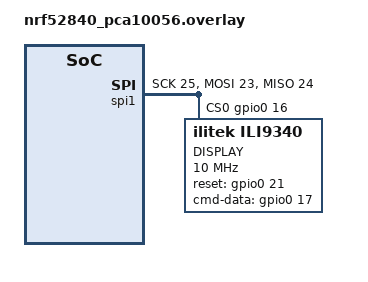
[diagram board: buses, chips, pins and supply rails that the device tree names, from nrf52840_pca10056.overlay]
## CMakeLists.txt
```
cmake_minimum_required(VERSION 3.8.2)

include($ENV{ZEPHYR_BASE}/cmake/app/boilerplate.cmake NO_POLICY_SCOPE)
project(lvgl_keypad)

FILE(GLOB app_sources src/*.c)
target_sources(app PRIVATE ${app_sources})
```

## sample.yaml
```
sample:
  description: LVGL keypad sample application
  name: lvgl_keypad
tests:
  test:
    build_only: true
    platform_whitelist: nrf52840_pca10056, native_posix
    tags: samples display
```

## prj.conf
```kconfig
CONFIG_HEAP_MEM_POOL_SIZE=16384

CONFIG_DISPLAY=y
CONFIG_DISPLAY_LOG_LEVEL_ERR=y

CONFIG_LOG=y

CONFIG_LVGL=y
CONFIG_LVGL_GROUP=y
CONFIG_LVGL_OBJ_BAR=y
CONFIG_LVGL_OBJ_SLIDER=y
CONFIG_LVGL_OBJ_SWITCH=y
CONFIG_LVGL_OBJ_LED=y

CONFIG_GPIO=y
```

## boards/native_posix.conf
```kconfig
CONFIG_SDL_DISPLAY=y
CONFIG_SDL_DISPLAY_DEV_NAME="DISPLAY"
CONFIG_SDL_DISPLAY_X_RES=320
CONFIG_SDL_DISPLAY_Y_RES=240

CONFIG_GPIO_SDL=y
CONFIG_GPIO_SDL_0_PIN_0_SCAN_CODE=82
CONFIG_GPIO_SDL_0_PIN_1_SCAN_CODE=81
CONFIG_GPIO_SDL_0_PIN_2_SCAN_CODE=80
CONFIG_GPIO_SDL_0_PIN_3_SCAN_CODE=79
CONFIG_GPIO_SDL_0_PIN_0_SWITCH_TYPE_IMPULSE=y
CONFIG_GPIO_SDL_0_PIN_1_SWITCH_TYPE_IMPULSE=y
CONFIG_GPIO_SDL_0_PIN_2_SWITCH_TYPE_IMPULSE=y
CONFIG_GPIO_SDL_0_PIN_3_SWITCH_TYPE_IMPULSE=y
```

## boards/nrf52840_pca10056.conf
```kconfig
CONFIG_SPI=y
CONFIG_SPI_1=y
CONFIG_SPI_1_NRF_SPI=y

CONFIG_ILI9340=y
CONFIG_ILI9340_LCD_SEEED_TFTV2=y

CONFIG_LVGL_BITS_PER_PIXEL=24
```

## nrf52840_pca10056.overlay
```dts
&spi1 {
	status = "ok";
	sck-pin = <25>;
	mosi-pin = <23>;
	miso-pin = <24>;
	cs-gpios = <&gpio0 16 0>;

	ili9340@0 {
		compatible = "ilitek,ili9340";
		label = "DISPLAY";
		spi-max-frequency = <10000000>;
		reg = <0>;
		reset-gpios = <&gpio0 21 0>;
		cmd-data-gpios = <&gpio0 17 0>;
	};
};
```

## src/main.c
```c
/*
 * Copyright (c) 2018 Jan Van Winkel <jan.van_winkel@dxplore.eu>
 *
 * SPDX-License-Identifier: Apache-2.0
 */

#include <device.h>
#include <display.h>
#include <lvgl.h>
#include <stdio.h>
#include <string.h>
#include <zephyr.h>
#include <gpio.h>
#include <misc/util.h>
#include <stdbool.h>

#include "src/lv_core/lv_indev.h"

#define LOG_LEVEL LOG_LEVEL_DEBUG
#include <logging/log.h>
LOG_MODULE_REGISTER(app);

static struct gpio_callback key_callback;
static lv_style_t led_style;
static lv_obj_t *leds[4];
static lv_obj_t *switches[4];
static lv_group_t *group;

static u32_t last_key;
static lv_indev_state_t last_key_state = LV_INDEV_STATE_REL;

void switch_event_cb(lv_obj_t *sw, lv_event_t event)
{
	size_t idx = (size_t)lv_obj_get_user_data(sw);

	if (event != LV_EVENT_VALUE_CHANGED) {
		return;
	}

	if (lv_sw_get_state(sw)) {
		lv_led_on(leds[idx]);
	} else {
		lv_led_off(leds[idx]);
	}
}

static void create_leds(void)
{
	int idx;

	lv_style_copy(&led_style, &lv_style_pretty_color);
	led_style.body.radius = LV_RADIUS_CIRCLE;
	led_style.body.main_color = LV_COLOR_MAKE(0xb5, 0x0f, 0x04);
	led_style.body.grad_color = LV_COLOR_MAKE(0x50, 0x07, 0x02);
	led_style.body.border.color = LV_COLOR_MAKE(0xfa, 0x0f, 0x00);
	led_style.body.border.width = 3;
	led_style.body.border.opa = LV_OPA_30;
	led_style.body.shadow.color = LV_COLOR_MAKE(0xb5, 0x0f, 0x04);
	led_style.body.shadow.width = 10;

	for (idx = 0; idx < ARRAY_SIZE(leds); ++idx) {
		leds[idx]  = lv_led_create(lv_scr_act(), NULL);
		lv_obj_set_style(leds[idx], &led_style);
		lv_obj_align(leds[idx], NULL, LV_ALIGN_IN_TOP_RIGHT, -40,
				20 + 55 * idx);
		lv_led_off(leds[idx]);
	}

}

static void create_switches(void)
{
	size_t idx;

	for (idx = 0; idx < ARRAY_SIZE(switches); ++idx) {
		switches[idx] = lv_sw_create(lv_scr_act(), NULL);
		lv_obj_set_user_data(switches[idx], (void *)idx);
		lv_obj_set_event_cb(switches[idx], switch_event_cb);
		lv_group_add_obj(group, switches[idx]);
		lv_obj_align(switches[idx], NULL, LV_ALIGN_IN_TOP_MID, 0,
				20 + 55 * idx);
	}

}

static bool lv_key_read(lv_indev_drv_t *indev_drv, lv_indev_data_t *data)
{
	data->key = last_key;
	data->state = last_key_state;
	if (data->state == LV_INDEV_STATE_PR) {
		last_key_state = LV_INDEV_STATE_REL;
	}
	return false;
}

static void key_callback_handler(struct device *port, struct gpio_callback *cb,
		u32_t pins)
{
	if ((pins & BIT(0)) != 0) {
		last_key = LV_KEY_PREV;
		last_key_state = LV_INDEV_STATE_PR;
	}
	if ((pins & BIT(1)) != 0) {
		last_key = LV_KEY_NEXT;
		last_key_state = LV_INDEV_STATE_PR;
	}
	if ((pins & BIT(2)) != 0) {
		last_key = LV_KEY_LEFT;
		last_key_state = LV_INDEV_STATE_PR;
	}
	if ((pins & BIT(3)) != 0) {
		last_key = LV_KEY_RIGHT;
		last_key_state = LV_INDEV_STATE_PR;
	}
}

void main(void)
{
	lv_indev_drv_t indev_drv;
	lv_indev_t *indev;
	struct device *display_dev;
	static struct device *gpio_dev;

	display_dev = device_get_binding("DISPLAY");

	if (display_dev == NULL) {
		LOG_ERR("display device not found.  Aborting test.");
		return;
	}

	gpio_dev = device_get_binding("GPIO_0");

	if (display_dev == NULL) {
		LOG_ERR("GPIO device not found.  Aborting test.");
		return;
	}

	lv_indev_drv_init(&indev_drv);
	indev_drv.type = LV_INDEV_TYPE_KEYPAD;
	indev_drv.read_cb = lv_key_read;
	indev = lv_indev_drv_register(&indev_drv);

	group = lv_group_create();
	lv_group_set_wrap(group, true);
	lv_indev_set_group(indev, group);

	create_leds();
	create_switches();

	display_blanking_off(display_dev);

	gpio_pin_configure(gpio_dev,  0,
			GPIO_DIR_IN | GPIO_INT | GPIO_INT_EDGE |
			GPIO_INT_ACTIVE_HIGH);
	gpio_pin_configure(gpio_dev,  1,
			GPIO_DIR_IN | GPIO_INT | GPIO_INT_EDGE |
			GPIO_INT_ACTIVE_HIGH);
	gpio_pin_configure(gpio_dev,  2,
			GPIO_DIR_IN | GPIO_INT | GPIO_INT_EDGE |
			GPIO_INT_ACTIVE_HIGH);
	gpio_pin_configure(gpio_dev,  3,
			GPIO_DIR_IN | GPIO_INT | GPIO_INT_EDGE |
			GPIO_INT_ACTIVE_HIGH);
	gpio_init_callback(&key_callback, key_callback_handler,
			BIT(0) | BIT(1) | BIT(2) | BIT(3));
	gpio_add_callback(gpio_dev, &key_callback);
	gpio_pin_enable_callback(gpio_dev, 0);
	gpio_pin_enable_callback(gpio_dev, 1);
	gpio_pin_enable_callback(gpio_dev, 2);
	gpio_pin_enable_callback(gpio_dev, 3);

	while (1) {
		lv_task_handler();
		k_sleep(10);
	}
}
```
